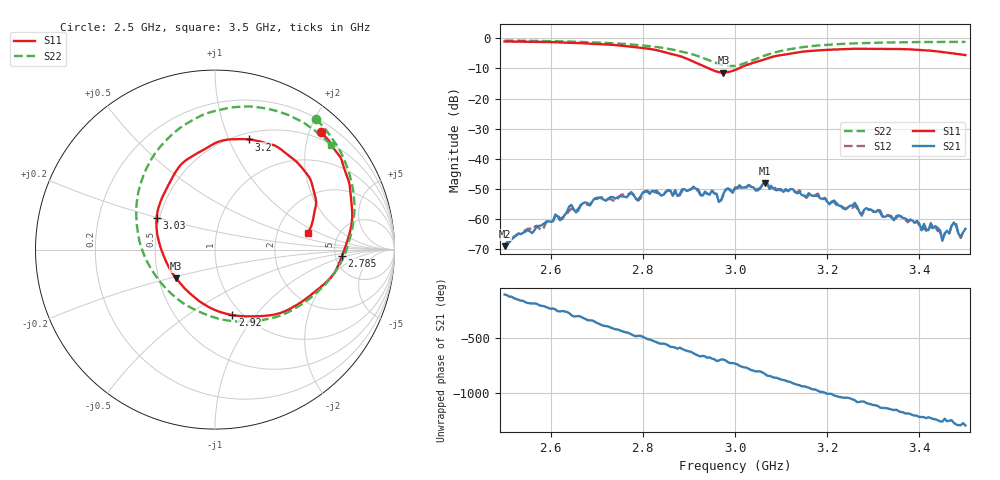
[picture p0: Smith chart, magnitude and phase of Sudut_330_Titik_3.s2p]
# Hz S RI R 50
! CMT, C1220, 16058040, 17.2.0/1
! Date: 15/08/2018 10:45:16
! Data: Format (Calibration Info)
! Freq  S11: Re/Im (F2)  S21: Re/Im (F2)  S12: Re/Im (F2)  S22: Re/Im (F2)
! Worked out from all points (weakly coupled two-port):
!   201 points, 2.5 GHz to 3.5 GHz, reference 50 ohm
!   highest |S21| = -48.18 dB at 3.065 GHz (marker M1); lowest = -69.0 dB at 2.5 GHz (marker M2)
!   lowest |S11| = -11.4 dB at 2.975 GHz (marker M3), VSWR 1.74, Z = 30.8 - j10.6 ohm
!   |S11| at or under -10 dB: 2.943 GHz to 3.008 GHz (64.82 MHz wide, 2.18 % of centre)
!   |S22| runs from -9.2 to -0.7 dB; largest |S21 - S12| = 0.00037
!   S11 on the Smith chart (normalised r, x): 2.5 GHz: 0.37, +2.20; 2.785 GHz: 5.73, -0.85; 2.92 GHz: 0.90, -0.77; 3.03 GHz: 0.48, +0.20; 3.2 GHz: 0.57, +1.18; 3.5 GHz: 2.99, +0.78
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2.5e9  0.5925 0.6537  -3.28e-05 -0.000355  -1.46e-05 -0.000357  0.5634 0.7257
2.67e9  0.7521 0.3431  0.00118 0.00141  0.00127 0.00124  0.7383 0.4534
2.775e9  0.7221 0.0038  -0.00057 -0.00265  -0.000656 -0.00273  0.7714 0.1592
2.785e9  0.7074 -0.0369  -0.00109 -0.0019  -0.00117 -0.00181  0.7664 0.1246
2.835e9  0.5831 -0.2132  -0.00269 0.000239  -0.00265 0.000118  0.7046 -0.0657
2.92e9  0.0963 -0.3651  0.00147 0.00276  0.0013 0.00264  0.3355 -0.377
2.95e9  -0.0882 -0.2871  0.00248 0.00166  0.00242 0.0017  0.1031 -0.3992
2.965e9  -0.171 -0.2139  0.00185 0.000549  0.00192 0.000569  -0.0199 -0.373
2.975e9  -0.2165 -0.1595  0.00238 0.00116  0.00226 0.00113  -0.0986 -0.3416
3e9  -0.2968 -0.00714  0.00328 -0.000683  0.00314 -0.000857  -0.2763 -0.2134
3.03e9  -0.3251 0.1774  0.00188 -0.00317  0.00184 -0.0032  -0.4096 0.00815
3.065e9  -0.2535 0.3705  -0.00113 -0.00373  -0.00104 -0.00364  -0.4336 0.2822
3.17e9  0.0889 0.6143  -0.000849 0.00227  -0.00098 0.00223  -0.09 0.7398
3.2e9  0.1873 0.614  0.000679 0.00185  0.000763 0.00179  0.0195 0.777
3.335e9  0.4885 0.4505  0.000397 -0.00106  0.000402 -0.00109  0.392 0.756
3.395e9  0.5482 0.3339  -0.000609 -0.00068  -0.000614 -0.000703  0.5033 0.7008
3.405e9  0.5553 0.3079  -0.000526 -0.000393  -0.000534 -0.000387  0.519 0.6892
3.425e9  0.5638 0.2611  -0.000776 -0.000369  -0.000725 -0.000355  0.5492 0.6693
3.45e9  0.5538 0.2063  -0.000434 4.93e-05  -0.00047 1.22e-05  0.5853 0.6407
3.475e9  0.5402 0.1419  -0.00084 0.000266  -0.0008 0.000248  0.6161 0.6132
3.49e9  0.5276 0.1122  -0.000396 0.000325  -0.000373 0.000311  0.6337 0.5947
3.5e9  0.5174 0.0939  -0.000518 0.00046  -0.00048 0.000437  0.6448 0.5835
